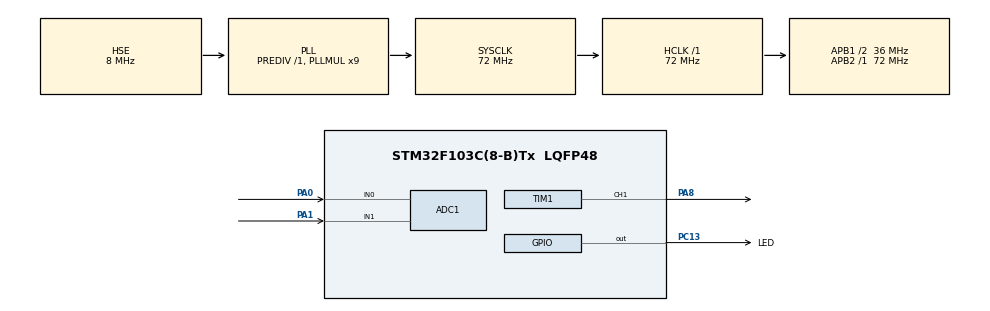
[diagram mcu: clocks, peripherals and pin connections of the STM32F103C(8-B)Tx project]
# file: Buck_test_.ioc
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ADC1.Channel-1\#ChannelRegularConversion=ADC_CHANNEL_0
ADC1.Channel-2\#ChannelRegularConversion=ADC_CHANNEL_1
ADC1.ContinuousConvMode=ENABLE
ADC1.NbrOfConversion=2
ADC1.NbrOfConversionFlag=1
ADC1.Rank-1\#ChannelRegularConversion=1
ADC1.Rank-2\#ChannelRegularConversion=2
ADC1.SamplingTime-1\#ChannelRegularConversion=ADC_SAMPLETIME_1CYCLE_5
ADC1.SamplingTime-2\#ChannelRegularConversion=ADC_SAMPLETIME_1CYCLE_5
ADC1.master=1
Dma.ADC1.0.Direction=DMA_PERIPH_TO_MEMORY
Dma.ADC1.0.Instance=DMA1_Channel1
Dma.ADC1.0.MemDataAlignment=DMA_MDATAALIGN_HALFWORD
Dma.ADC1.0.MemInc=DMA_MINC_ENABLE
Dma.ADC1.0.Mode=DMA_CIRCULAR
Dma.ADC1.0.PeriphDataAlignment=DMA_PDATAALIGN_HALFWORD
Dma.ADC1.0.PeriphInc=DMA_PINC_DISABLE
Dma.ADC1.0.Priority=DMA_PRIORITY_LOW
Dma.Request0=ADC1
Mcu.Family=STM32F1
Mcu.Name=STM32F103C(8-B)Tx
Mcu.Package=LQFP48
NVIC.ADC1_2_IRQn=true\:1\:0\:true\:false\:true\:true\:true\:true
NVIC.DMA1_Channel1_IRQn=true\:1\:0\:true\:false\:true\:false\:true\:true
NVIC.PriorityGroup=NVIC_PRIORITYGROUP_4
NVIC.TIM2_IRQn=true\:0\:0\:true\:false\:true\:true\:true\:true
PA0-WKUP.Signal=ADCx_IN0
PA1.Signal=ADCx_IN1
PA13.Mode=Serial_Wire
PA13.Signal=SYS_JTMS-SWDIO
PA14.Mode=Serial_Wire
PA14.Signal=SYS_JTCK-SWCLK
PA8.Signal=S_TIM1_CH1
PC13-TAMPER-RTC.GPIO_Label=LED
PC13-TAMPER-RTC.GPIO_PuPd=GPIO_PULLDOWN
PC13-TAMPER-RTC.Signal=GPIO_Output
PD0-OSC_IN.Mode=HSE-External-Oscillator
PD0-OSC_IN.Signal=RCC_OSC_IN
PD1-OSC_OUT.Mode=HSE-External-Oscillator
PD1-OSC_OUT.Signal=RCC_OSC_OUT
ProjectManager.HeapSize=0x200
ProjectManager.StackSize=0x400
ProjectManager.TargetToolchain=STM32CubeIDE
RCC.ADCPresc=RCC_ADCPCLK2_DIV6
RCC.AHBFreq_Value=72000000
RCC.APB1CLKDivider=RCC_HCLK_DIV2
RCC.APB1Freq_Value=36000000
RCC.APB1TimFreq_Value=72000000
RCC.APB2Freq_Value=72000000
RCC.APB2TimFreq_Value=72000000
RCC.HCLKFreq_Value=72000000
RCC.PLLMUL=RCC_PLL_MUL9
RCC.PLLSourceVirtual=RCC_PLLSOURCE_HSE
RCC.SYSCLKFreq_VALUE=72000000
RCC.SYSCLKSource=RCC_SYSCLKSOURCE_PLLCLK
RCC.USBFreq_Value=72000000
SH.ADCx_IN0.0=ADC1_IN0,IN0
SH.ADCx_IN1.0=ADC1_IN1,IN1
SH.S_TIM1_CH1.0=TIM1_CH1,PWM Generation1 CH1
TIM1.Channel-PWM\ Generation1\ CH1=TIM_CHANNEL_1
TIM1.Period=720-1
TIM1.Prescaler=0
TIM2.Period=720-1
TIM2.Prescaler=0
VP_TIM2_VS_ClockSourceINT.Mode=Internal
board=custom

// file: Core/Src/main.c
/* USER CODE BEGIN Header */
/**
 ******************************************************************************
 * @file           : main.c
 * @brief          : Main program body
 ******************************************************************************
 * @attention
 *
 * Copyright (c) 2024 STMicroelectronics.
 * All rights reserved.
 *
 * This software is licensed under terms that can be found in the LICENSE file
 * in the root directory of this software component.
 * If no LICENSE file comes with this software, it is provided AS-IS.
 *
 ******************************************************************************
 */
/* USER CODE END Header */
#include "main.h"

/* USER CODE BEGIN PD */
#define ADC_BUF_LEN 2

#define R1 3.990e6f //12k
#define R2 20.0e3f //2k
#define DESIRED_VOLTAGE 5.0f   // Input the desired voltage

float measuredVoltageCh1, measuredVoltageCh2, normalizedVoltage,
		differentialVoltage;

uint16_t duration_cycles, end_cycle, start_cycle;
float duration_us;
float VoToVfb = (R1 + R2) / R2;

uint16_t ccm_val;
/* USER CODE END PD */

ADC_HandleTypeDef hadc1;
DMA_HandleTypeDef hdma_adc1;

TIM_HandleTypeDef htim1;
TIM_HandleTypeDef htim2;

/* USER CODE BEGIN PV */
uint16_t adc_buf[ADC_BUF_LEN];
/* USER CODE END PV */

void SystemClock_Config(void);
static void MX_GPIO_Init(void);
static void MX_DMA_Init(void);
static void MX_TIM1_Init(void);
static void MX_ADC1_Init(void);
static void MX_TIM2_Init(void);
/* USER CODE BEGIN PFP */
void DWT_Init(void);

/* USER CODE END PFP */

/* USER CODE BEGIN 0 */
uint8_t tim2_f;
/* USER CODE END 0 */

int main(void)
{

  /* MCU Configuration--------------------------------------------------------*/

  /* Reset of all peripherals, Initializes the Flash interface and the Systick. */
  HAL_Init();

  /* Configure the system clock */
  SystemClock_Config();

  /* Initialize all configured peripherals */
  MX_GPIO_Init();
  MX_DMA_Init();
  MX_TIM1_Init();
  MX_ADC1_Init();
  MX_TIM2_Init();
  /* USER CODE BEGIN 2 */
	HAL_ADC_Start_DMA(&hadc1, (uint32_t*) adc_buf, ADC_BUF_LEN);

	HAL_TIM_PWM_Start(&htim1, TIM_CHANNEL_1);
	HAL_TIM_Base_Start_IT(&htim2);
	DWT_Init();
  /* USER CODE END 2 */

  /* Infinite loop */
	while (1) {

	}
}

void SystemClock_Config(void)
{
  RCC_OscInitTypeDef RCC_OscInitStruct = {0};
  RCC_ClkInitTypeDef RCC_ClkInitStruct = {0};
  RCC_PeriphCLKInitTypeDef PeriphClkInit = {0};

  /** Initializes the RCC Oscillators according to the specified parameters
  * in the RCC_OscInitTypeDef structure.
  */
  RCC_OscInitStruct.OscillatorType = RCC_OSCILLATORTYPE_HSE;
  RCC_OscInitStruct.HSEState = RCC_HSE_ON;
  RCC_OscInitStruct.HSEPredivValue = RCC_HSE_PREDIV_DIV1;
  RCC_OscInitStruct.HSIState = RCC_HSI_ON;
  RCC_OscInitStruct.PLL.PLLState = RCC_PLL_ON;
  RCC_OscInitStruct.PLL.PLLSource = RCC_PLLSOURCE_HSE;
  RCC_OscInitStruct.PLL.PLLMUL = RCC_PLL_MUL9;
  if (HAL_RCC_OscConfig(&RCC_OscInitStruct) != HAL_OK)
  {
    Error_Handler();
  }

  /** Initializes the CPU, AHB and APB buses clocks
  */
  RCC_ClkInitStruct.ClockType = RCC_CLOCKTYPE_HCLK|RCC_CLOCKTYPE_SYSCLK
                              |RCC_CLOCKTYPE_PCLK1|RCC_CLOCKTYPE_PCLK2;
  RCC_ClkInitStruct.SYSCLKSource = RCC_SYSCLKSOURCE_PLLCLK;
  RCC_ClkInitStruct.AHBCLKDivider = RCC_SYSCLK_DIV1;
  RCC_ClkInitStruct.APB1CLKDivider = RCC_HCLK_DIV2;
  RCC_ClkInitStruct.APB2CLKDivider = RCC_HCLK_DIV1;

  if (HAL_RCC_ClockConfig(&RCC_ClkInitStruct, FLASH_LATENCY_2) != HAL_OK)
  {
    Error_Handler();
  }
  PeriphClkInit.PeriphClockSelection = RCC_PERIPHCLK_ADC;
  PeriphClkInit.AdcClockSelection = RCC_ADCPCLK2_DIV6;
  if (HAL_RCCEx_PeriphCLKConfig(&PeriphClkInit) != HAL_OK)
  {
    Error_Handler();
  }
}

static void MX_ADC1_Init(void)
{

  ADC_ChannelConfTypeDef sConfig = {0};

  /** Common config
  */
  hadc1.Instance = ADC1;
  hadc1.Init.ScanConvMode = ADC_SCAN_ENABLE;
  hadc1.Init.ContinuousConvMode = ENABLE;
  hadc1.Init.DiscontinuousConvMode = DISABLE;
  hadc1.Init.ExternalTrigConv = ADC_SOFTWARE_START;
  hadc1.Init.DataAlign = ADC_DATAALIGN_RIGHT;
  hadc1.Init.NbrOfConversion = 2;
  if (HAL_ADC_Init(&hadc1) != HAL_OK)
  {
    Error_Handler();
  }

  /** Configure Regular Channel
  */
  sConfig.Channel = ADC_CHANNEL_0;
  sConfig.Rank = ADC_REGULAR_RANK_1;
  sConfig.SamplingTime = ADC_SAMPLETIME_1CYCLE_5;
  if (HAL_ADC_ConfigChannel(&hadc1, &sConfig) != HAL_OK)
  {
    Error_Handler();
  }

  /** Configure Regular Channel
  */
  sConfig.Channel = ADC_CHANNEL_1;
  sConfig.Rank = ADC_REGULAR_RANK_2;
  if (HAL_ADC_ConfigChannel(&hadc1, &sConfig) != HAL_OK)
  {
    Error_Handler();
  }

}

static void MX_TIM1_Init(void)
{

  TIM_MasterConfigTypeDef sMasterConfig = {0};
  TIM_OC_InitTypeDef sConfigOC = {0};
  TIM_BreakDeadTimeConfigTypeDef sBreakDeadTimeConfig = {0};

  htim1.Instance = TIM1;
  htim1.Init.Prescaler = 0;
  htim1.Init.CounterMode = TIM_COUNTERMODE_UP;
  htim1.Init.Period = 720-1;
  htim1.Init.ClockDivision = TIM_CLOCKDIVISION_DIV1;
  htim1.Init.RepetitionCounter = 0;
  htim1.Init.AutoReloadPreload = TIM_AUTORELOAD_PRELOAD_DISABLE;
  if (HAL_TIM_PWM_Init(&htim1) != HAL_OK)
  {
    Error_Handler();
  }
  sMasterConfig.MasterOutputTrigger = TIM_TRGO_RESET;
  sMasterConfig.MasterSlaveMode = TIM_MASTERSLAVEMODE_DISABLE;
  if (HAL_TIMEx_MasterConfigSynchronization(&htim1, &sMasterConfig) != HAL_OK)
  {
    Error_Handler();
  }
  sConfigOC.OCMode = TIM_OCMODE_PWM1;
  sConfigOC.Pulse = 0;
  sConfigOC.OCPolarity = TIM_OCPOLARITY_HIGH;
  sConfigOC.OCNPolarity = TIM_OCNPOLARITY_HIGH;
  sConfigOC.OCFastMode = TIM_OCFAST_DISABLE;
  sConfigOC.OCIdleState = TIM_OCIDLESTATE_RESET;
  sConfigOC.OCNIdleState = TIM_OCNIDLESTATE_RESET;
  if (HAL_TIM_PWM_ConfigChannel(&htim1, &sConfigOC, TIM_CHANNEL_1) != HAL_OK)
  {
    Error_Handler();
  }
  sBreakDeadTimeConfig.OffStateRunMode = TIM_OSSR_DISABLE;
  sBreakDeadTimeConfig.OffStateIDLEMode = TIM_OSSI_DISABLE;
  sBreakDeadTimeConfig.LockLevel = TIM_LOCKLEVEL_OFF;
  sBreakDeadTimeConfig.DeadTime = 0;
  sBreakDeadTimeConfig.BreakState = TIM_BREAK_DISABLE;
  sBreakDeadTimeConfig.BreakPolarity = TIM_BREAKPOLARITY_HIGH;
  sBreakDeadTimeConfig.AutomaticOutput = TIM_AUTOMATICOUTPUT_DISABLE;
  if (HAL_TIMEx_ConfigBreakDeadTime(&htim1, &sBreakDeadTimeConfig) != HAL_OK)
  {
    Error_Handler();
  }
  HAL_TIM_MspPostInit(&htim1);

}

static void MX_TIM2_Init(void)
{

  TIM_ClockConfigTypeDef sClockSourceConfig = {0};
  TIM_MasterConfigTypeDef sMasterConfig = {0};

  htim2.Instance = TIM2;
  htim2.Init.Prescaler = 0;
  htim2.Init.CounterMode = TIM_COUNTERMODE_UP;
  htim2.Init.Period = 720-1;
  htim2.Init.ClockDivision = TIM_CLOCKDIVISION_DIV1;
  htim2.Init.AutoReloadPreload = TIM_AUTORELOAD_PRELOAD_DISABLE;
  if (HAL_TIM_Base_Init(&htim2) != HAL_OK)
  {
    Error_Handler();
  }
  sClockSourceConfig.ClockSource = TIM_CLOCKSOURCE_INTERNAL;
  if (HAL_TIM_ConfigClockSource(&htim2, &sClockSourceConfig) != HAL_OK)
  {
    Error_Handler();
  }
  sMasterConfig.MasterOutputTrigger = TIM_TRGO_RESET;
  sMasterConfig.MasterSlaveMode = TIM_MASTERSLAVEMODE_DISABLE;
  if (HAL_TIMEx_MasterConfigSynchronization(&htim2, &sMasterConfig) != HAL_OK)
  {
    Error_Handler();
  }

}

static void MX_DMA_Init(void)
{

  /* DMA controller clock enable */
  __HAL_RCC_DMA1_CLK_ENABLE();

  /* DMA interrupt init */
  /* DMA1_Channel1_IRQn interrupt configuration */
  HAL_NVIC_SetPriority(DMA1_Channel1_IRQn, 1, 0);
  HAL_NVIC_EnableIRQ(DMA1_Channel1_IRQn);

}

static void MX_GPIO_Init(void)
{
  GPIO_InitTypeDef GPIO_InitStruct = {0};

  /* GPIO Ports Clock Enable */
  __HAL_RCC_GPIOC_CLK_ENABLE();
  __HAL_RCC_GPIOD_CLK_ENABLE();
  __HAL_RCC_GPIOA_CLK_ENABLE();

  /*Configure GPIO pin Output Level */
  HAL_GPIO_WritePin(LED_GPIO_Port, LED_Pin, GPIO_PIN_RESET);

  /*Configure GPIO pin : LED_Pin */
  GPIO_InitStruct.Pin = LED_Pin;
  GPIO_InitStruct.Mode = GPIO_MODE_OUTPUT_PP;
  GPIO_InitStruct.Pull = GPIO_PULLDOWN;
  GPIO_InitStruct.Speed = GPIO_SPEED_FREQ_LOW;
  HAL_GPIO_Init(LED_GPIO_Port, &GPIO_InitStruct);

}

/* USER CODE BEGIN 4 */
void HAL_TIM_PeriodElapsedCallback(TIM_HandleTypeDef *htim) {
	if (htim->Instance == TIM2) {

		//		Start counting the cycles
		start_cycle = DWT->CYCCNT;

		measuredVoltageCh1 = adc_buf[0];
		measuredVoltageCh1 = adc_buf[1];
		differentialVoltage = measuredVoltageCh1 - measuredVoltageCh2;

		normalizedVoltage = differentialVoltage * VoToVfb;

		ccm_val = __HAL_TIM_GET_COMPARE(&htim1, TIM_CHANNEL_1);
		if (normalizedVoltage < DESIRED_VOLTAGE) {
			ccm_val += 1;

		} else {
			ccm_val -= 1;
		}
		__HAL_TIM_SET_COMPARE(&htim1, TIM_CHANNEL_1, ccm_val);
		//		End counting the cycles and get the final number of cycles
		end_cycle = DWT->CYCCNT;
		duration_cycles = end_cycle - start_cycle;
		duration_us = (float) duration_cycles / SystemCoreClock * 1e6;
	}

}
void DWT_Init(void) {
	CoreDebug->DEMCR |= CoreDebug_DEMCR_TRCENA_Msk;
	DWT->CYCCNT = 0;
	DWT->CTRL |= DWT_CTRL_CYCCNTENA_Msk;
}

uint8_t data_ready_f;
//void HAL_ADC_ConvCpltCallback(ADC_HandleTypeDef *hadc) {
//	data_ready_f = 1;
//}
/* USER CODE END 4 */

void Error_Handler(void)
{
	__disable_irq();
	while (1) {
	}
}
